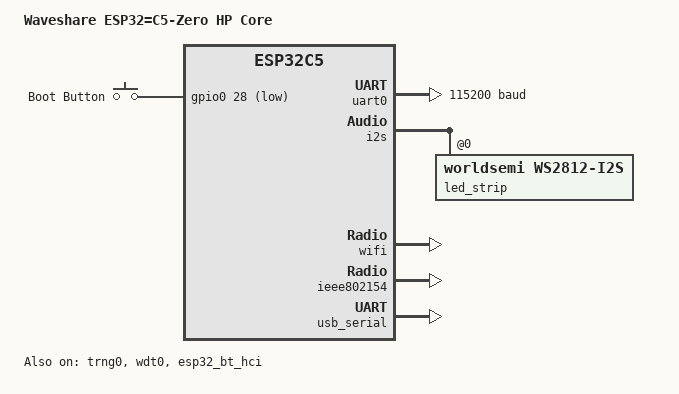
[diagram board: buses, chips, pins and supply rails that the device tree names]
/*
 * Copyright (c) 2026 Tom Owen
 *
 * SPDX-License-Identifier: Apache-2.0
 */

/dts-v1/;

#include <espressif/esp32c5/esp32c5_common.dtsi>
#include "esp32c5_zero-partitions.dtsi"
#include "esp32c5_zero_hpcore-pinctrl.dtsi"
#include <zephyr/dt-bindings/input/input-event-codes.h>
#include <zephyr/dt-bindings/led/led.h>


/ {
	model = "Waveshare ESP32=C5-Zero HP Core";
	compatible = "espressif,esp32c5";

	chosen {
		zephyr,sram = &sramhp;
		zephyr,console = &usb_serial;
		zephyr,shell-uart = &usb_serial;
		zephyr,flash = &flash0;
		zephyr,code-partition = &slot0_partition;
		zephyr,ieee802154 = &ieee802154;
	};

	aliases {
		sw0 = &boot_button;
		watchdog0 = &wdt0;
		led-strip = &led_strip;
	};

	gpio_keys {
		compatible = "gpio-keys";

		boot_button: button {
			label = "Boot Button";
			gpios = <&gpio0 28 (GPIO_PULL_UP | GPIO_ACTIVE_LOW)>;
			zephyr,code = <INPUT_KEY_0>;
		};
	};
};


&uart0 {
	status = "okay";
	current-speed = <115200>;
	pinctrl-0 = <&uart0_default>;
	pinctrl-names = "default";
};

&trng0 {
	status = "okay";
};


&i2s {
	pinctrl-0 = <&i2s_default>;
	pinctrl-names = "default";
};

&gpio0 {
	status = "okay";
};

&wdt0 {
	status = "okay";
};

&wifi {
	status = "okay";
};

&ieee802154 {
	status = "okay";
};

&esp32_bt_hci {
	status = "okay";
};


&usb_serial {
	status = "okay";
};

&i2s_default {
	group1 {
		pinmux = <I2S_O_SD_GPIO27>;
	};
};

i2s_led: &i2s {
	status = "okay";

	pinctrl-0 = <&i2s_default>;
	pinctrl-names = "default";

	dmas = <&dma 3>;
	dma-names = "tx";

	led_strip: ws2812@0 {
		compatible = "worldsemi,ws2812-i2s";

		reg = <0>;
		chain-length = <1>;
		color-mapping = <LED_COLOR_ID_GREEN
				 LED_COLOR_ID_RED
				 LED_COLOR_ID_BLUE>;
		reset-delay = <500>;
	};
};

&dma {
	status = "okay";
};
